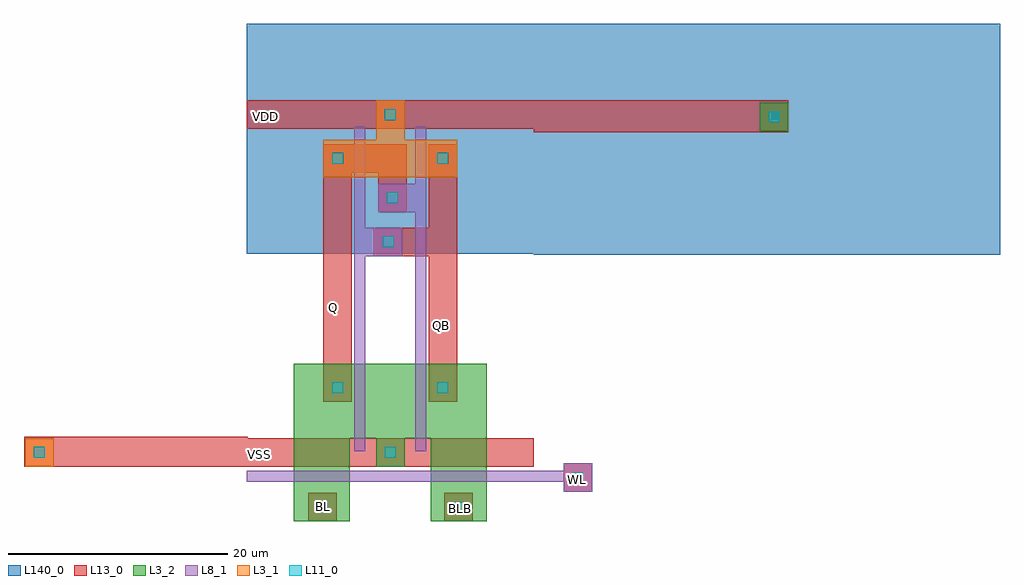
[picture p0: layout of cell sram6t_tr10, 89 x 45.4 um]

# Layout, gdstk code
import gdstk
lib = gdstk.Library(unit=1e-6, precision=1e-07)
def R(c, l, rs):  # rectangles x0, y0, x1, y1
    for r in rs: c.add(gdstk.rectangle(r[:2], r[2:], *l))
L3_1 = (3, 1)
L3_2 = (3, 2)
L8_1 = (8, 1)
L11_0 = (11, 0)
L13_0 = (13, 0)
L140_0 = (140, 0)

cont_p = lib.new_cell('cont_p')
R(cont_p, L3_1, [(-1.3,-1.3,1.3,1.3)])
R(cont_p, L11_0, [(-0.5,-0.5,0.5,0.5)])
R(cont_p, L13_0, [(-1.3,-1.3,1.3,1.3)])

cont_n = lib.new_cell('cont_n')
R(cont_n, L3_2, [(-1.3,-1.3,1.3,1.3)])
R(cont_n, L11_0, [(-0.5,-0.5,0.5,0.5)])
R(cont_n, L13_0, [(-1.3,-1.3,1.3,1.3)])

cont_g = lib.new_cell('cont_g')
R(cont_g, L8_1, [(-1.3,-1.3,1.3,1.3)])
R(cont_g, L11_0, [(-0.5,-0.5,0.5,0.5)])
R(cont_g, L13_0, [(-1.3,-1.3,1.3,1.3)])

sram6t_tr10 = lib.new_cell('sram6t_tr10')
R(sram6t_tr10, L3_1, [(-405.9,10196.3,-393.7,10199.7), (-401.1,10199.7,-398.5,10200.7)])
R(sram6t_tr10, L3_2, [(-408.6,10164.9,-403.5,10172.5), (-396.1,10164.9,-391,10172.5), (-408.6,10172.5,-391,10179.3)])
R(sram6t_tr10, L8_1, [(-412.9,10168.5,-386.7,10169.5), (-386.7,10168.5,-384,10169.5), (-403.1,10171.3,-402.1,10200.9), (-397.5,10171.3,-396.5,10200.9), (-402.1,10189.1,-401.3,10191.7), (-398.3,10193.1,-397.5,10195.7)])
R(sram6t_tr10, L13_0, [(-433.2,10169.9,-412.8,10172.6), (-412.9,10169.9,-386.7,10172.5), (-405.9,10175.8,-403.3,10196.7), (-396.3,10175.8,-393.7,10196.7), (-398.7,10189.1,-396.3,10191.7), (-400.9,10195.6,-398.3,10196.7), (-403.3,10196.7,-398.3,10199.3), (-386.7,10200.4,-363.5,10203.3), (-412.9,10200.7,-386.7,10203.3)])
R(sram6t_tr10, L140_0, [(-386.7,10189.2,-344.2,10210.3), (-412.9,10189.3,-386.7,10210.3)])
r = gdstk.Reference(cont_p, (-399.8,10202)); r.repetition = gdstk.Repetition(1, 1, v1=(0,0), v2=(0,0)); sram6t_tr10.add(r)
r = gdstk.Reference(cont_p, (-395,10198)); r.repetition = gdstk.Repetition(1, 1, v1=(0,0), v2=(0,0)); sram6t_tr10.add(r)
r = gdstk.Reference(cont_p, (-404.6,10198)); r.repetition = gdstk.Repetition(1, 1, v1=(0,0), v2=(0,0)); sram6t_tr10.add(r)
r = gdstk.Reference(cont_n, (-395,10177.1)); r.repetition = gdstk.Repetition(1, 1, v1=(0,0), v2=(0,0)); sram6t_tr10.add(r)
r = gdstk.Reference(cont_n, (-399.8,10171.2)); r.repetition = gdstk.Repetition(1, 1, v1=(0,0), v2=(0,0)); sram6t_tr10.add(r)
r = gdstk.Reference(cont_n, (-404.6,10177.1)); r.repetition = gdstk.Repetition(1, 1, v1=(0,0), v2=(0,0)); sram6t_tr10.add(r)
r = gdstk.Reference(cont_g, (-399.6,10194.4)); r.repetition = gdstk.Repetition(1, 1, v1=(0,0), v2=(0,0)); sram6t_tr10.add(r)
r = gdstk.Reference(cont_g, (-400,10190.4)); r.repetition = gdstk.Repetition(1, 1, v1=(0,0), v2=(0,0)); sram6t_tr10.add(r)
r = gdstk.Reference(cont_n, (-406,10166.2)); r.repetition = gdstk.Repetition(1, 1, v1=(0,0), v2=(0,0)); sram6t_tr10.add(r)
r = gdstk.Reference(cont_n, (-393.6,10166.2)); r.repetition = gdstk.Repetition(1, 1, v1=(0,0), v2=(0,0)); sram6t_tr10.add(r)
r = gdstk.Reference(cont_g, (-382.7,10168.9)); r.repetition = gdstk.Repetition(1, 1, v1=(0,0), v2=(0,0)); sram6t_tr10.add(r)
r = gdstk.Reference(cont_p, (-431.8,10171.2)); r.repetition = gdstk.Repetition(1, 1, v1=(0,0), v2=(0,0)); sram6t_tr10.add(r)
r = gdstk.Reference(cont_n, (-364.8,10201.8)); r.repetition = gdstk.Repetition(1, 1, v1=(0,0), v2=(0,0)); sram6t_tr10.add(r)
sram6t_tr10.add(gdstk.Label('Q', (-405,10184.4), layer=48, texttype=0))
sram6t_tr10.add(gdstk.Label('QB', (-395.1,10182.8), layer=48, texttype=0))
sram6t_tr10.add(gdstk.Label('VSS', (-411.7,10171), layer=48, texttype=0))
sram6t_tr10.add(gdstk.Label('BL', (-405.9,10166.3), layer=48, texttype=0))
sram6t_tr10.add(gdstk.Label('BLB', (-393.4,10166.1), layer=48, texttype=0))
sram6t_tr10.add(gdstk.Label('VDD', (-411.2,10201.8), layer=48, texttype=0))
sram6t_tr10.add(gdstk.Label('WL', (-382.7,10168.7), layer=48, texttype=0))

lib.write_gds('sram6t_tr10.gds')
